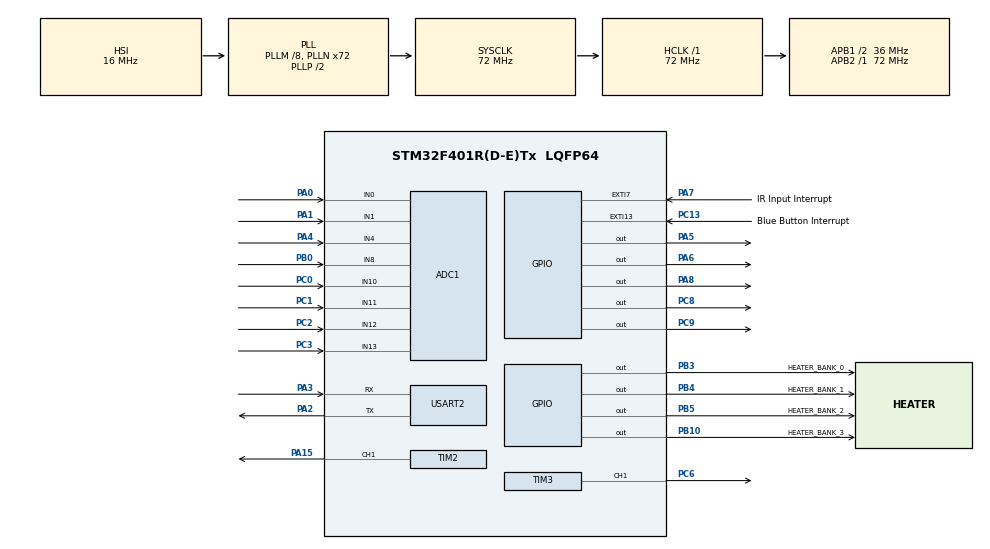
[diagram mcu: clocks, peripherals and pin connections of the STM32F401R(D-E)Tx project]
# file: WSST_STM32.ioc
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ADC1.Channel-0\#ChannelRegularConversion=ADC_CHANNEL_0
ADC1.Channel-1\#ChannelRegularConversion=ADC_CHANNEL_1
ADC1.Channel-2\#ChannelRegularConversion=ADC_CHANNEL_4
ADC1.Channel-3\#ChannelRegularConversion=ADC_CHANNEL_8
ADC1.Channel-4\#ChannelRegularConversion=ADC_CHANNEL_10
ADC1.Channel-5\#ChannelRegularConversion=ADC_CHANNEL_11
ADC1.Channel-6\#ChannelRegularConversion=ADC_CHANNEL_12
ADC1.Channel-7\#ChannelRegularConversion=ADC_CHANNEL_13
ADC1.DiscontinuousConvMode=ENABLE
ADC1.InjNumberOfConversion=0
ADC1.NbrOfConversion=8
ADC1.NbrOfConversionFlag=1
ADC1.Rank-0\#ChannelRegularConversion=1
ADC1.Rank-1\#ChannelRegularConversion=2
ADC1.Rank-2\#ChannelRegularConversion=3
ADC1.Rank-3\#ChannelRegularConversion=4
ADC1.Rank-4\#ChannelRegularConversion=5
ADC1.Rank-5\#ChannelRegularConversion=6
ADC1.Rank-6\#ChannelRegularConversion=7
ADC1.Rank-7\#ChannelRegularConversion=8
ADC1.SamplingTime-0\#ChannelRegularConversion=ADC_SAMPLETIME_3CYCLES
ADC1.SamplingTime-1\#ChannelRegularConversion=ADC_SAMPLETIME_3CYCLES
ADC1.SamplingTime-2\#ChannelRegularConversion=ADC_SAMPLETIME_3CYCLES
ADC1.SamplingTime-3\#ChannelRegularConversion=ADC_SAMPLETIME_3CYCLES
ADC1.SamplingTime-4\#ChannelRegularConversion=ADC_SAMPLETIME_3CYCLES
ADC1.SamplingTime-5\#ChannelRegularConversion=ADC_SAMPLETIME_3CYCLES
ADC1.SamplingTime-6\#ChannelRegularConversion=ADC_SAMPLETIME_3CYCLES
ADC1.SamplingTime-7\#ChannelRegularConversion=ADC_SAMPLETIME_3CYCLES
ADC1.ScanConvMode=ENABLE
ADC1.master=1
FREERTOS.Tasks01=defaultTask,0,128,StartDefaultTask,Default,NULL,Dynamic,NULL,NULL;readSensors,0,128,startReadSensors,Default,NULL,Dynamic,NULL,NULL;bangBangControl,3,128,StartBangBangControl,Default,NULL,Dynamic,NULL,NULL;communicationTa,0,1024,StartComTask,Default,NULL,Dynamic,NULL,NULL;motorTask,0,128,startMotorTask,Default,NULL,Dynamic,NULL,NULL;messageHanldlerTask,0,256,StartMessageHandlerTask,Default,NULL,Dynamic,NULL,NULL
FREERTOS.configENABLE_FPU=1
FREERTOS.configMAX_TASK_NAME_LEN=32
FREERTOS.configUSE_NEWLIB_REENTRANT=1
Mcu.Family=STM32F4
Mcu.Name=STM32F401R(D-E)Tx
Mcu.Package=LQFP64
NVIC.EXTI15_10_IRQn=true\:5\:0\:false\:false\:true\:true\:true\:true\:true
NVIC.EXTI9_5_IRQn=true\:5\:0\:false\:false\:true\:true\:true\:true\:true
NVIC.PriorityGroup=NVIC_PRIORITYGROUP_4
NVIC.TIM1_UP_TIM10_IRQn=true\:15\:0\:false\:false\:true\:false\:false\:true\:true
NVIC.TimeBase=TIM1_UP_TIM10_IRQn
NVIC.TimeBaseIP=TIM1
NVIC.USART2_IRQn=true\:5\:0\:false\:false\:true\:true\:true\:true\:true
PA0-WKUP.Signal=ADCx_IN0
PA1.Signal=ADCx_IN1
PA15.Signal=S_TIM2_CH1_ETR
PA2.Mode=Asynchronous
PA2.Signal=USART2_TX
PA3.Mode=Asynchronous
PA3.Signal=USART2_RX
PA4.Signal=ADCx_IN4
PA5.Signal=GPIO_Output
PA6.Signal=GPIO_Output
PA7.GPIO_Label=IR Input Interrupt
PA7.GPIO_ModeDefaultEXTI=GPIO_MODE_IT_FALLING
PA7.GPIO_PuPd=GPIO_PULLUP
PA7.Signal=GPXTI7
PA8.Signal=GPIO_Output
PB0.Signal=ADCx_IN8
PB10.GPIO_Label=HEATER_BANK_3
PB10.Signal=GPIO_Output
PB3.GPIO_Label=HEATER_BANK_0
PB3.Signal=GPIO_Output
PB4.GPIO_Label=HEATER_BANK_1
PB4.Signal=GPIO_Output
PB5.GPIO_Label=HEATER_BANK_2
PB5.Signal=GPIO_Output
PC0.Signal=ADCx_IN10
PC1.Signal=ADCx_IN11
PC13-ANTI_TAMP.GPIO_Label=Blue Button Interrupt
PC13-ANTI_TAMP.GPIO_ModeDefaultEXTI=GPIO_MODE_IT_FALLING
PC13-ANTI_TAMP.GPIO_PuPd=GPIO_PULLUP
PC13-ANTI_TAMP.Signal=GPXTI13
PC2.Signal=ADCx_IN12
PC3.Signal=ADCx_IN13
PC6.Signal=S_TIM3_CH1
PC8.Signal=GPIO_Output
PC9.Signal=GPIO_Output
ProjectManager.HeapSize=0x200
ProjectManager.StackSize=0x400
ProjectManager.TargetToolchain=STM32CubeIDE
RCC.48MHZClocksFreq_Value=36000000
RCC.AHBFreq_Value=72000000
RCC.APB1CLKDivider=RCC_HCLK_DIV2
RCC.APB1Freq_Value=36000000
RCC.APB1TimFreq_Value=72000000
RCC.APB2Freq_Value=72000000
RCC.APB2TimFreq_Value=72000000
RCC.CortexFreq_Value=72000000
RCC.HCLKFreq_Value=72000000
RCC.HSE_VALUE=25000000
RCC.HSI_VALUE=16000000
RCC.LSE_VALUE=32768
RCC.PLLM=8
RCC.PLLN=72
RCC.SYSCLKFreq_VALUE=72000000
RCC.SYSCLKSource=RCC_SYSCLKSOURCE_PLLCLK
RCC.VCOOutputFreq_Value=144000000
SH.ADCx_IN0.0=ADC1_IN0,IN0
SH.ADCx_IN1.0=ADC1_IN1,IN1
SH.ADCx_IN10.0=ADC1_IN10,IN10
SH.ADCx_IN11.0=ADC1_IN11,IN11
SH.ADCx_IN12.0=ADC1_IN12,IN12
SH.ADCx_IN13.0=ADC1_IN13,IN13
SH.ADCx_IN4.0=ADC1_IN4,IN4
SH.ADCx_IN8.0=ADC1_IN8,IN8
SH.S_TIM2_CH1_ETR.0=TIM2_CH1,PWM Generation1 CH1
SH.S_TIM3_CH1.0=TIM3_CH1,PWM Generation1 CH1
TIM2.Channel-PWM\ Generation1\ CH1=TIM_CHANNEL_1
TIM2.Period=999
TIM2.Prescaler=71
TIM3.Channel-PWM\ Generation1\ CH1=TIM_CHANNEL_1
TIM3.Period=255
USART2.VirtualMode=VM_ASYNC
VP_FREERTOS_VS_CMSIS_V1.Mode=CMSIS_V1
VP_SYS_VS_tim1.Mode=TIM1
board=custom

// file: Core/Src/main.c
/* USER CODE BEGIN Header */
/**
  ******************************************************************************
  * @file           : main.c
  * @brief          : Main program body
  ******************************************************************************
  * @attention
  *
  * Copyright (c) 2024 STMicroelectronics.
  * All rights reserved.
  *
  * This software is licensed under terms that can be found in the LICENSE file
  * in the root directory of this software component.
  * If no LICENSE file comes with this software, it is provided AS-IS.
  *
  ******************************************************************************
  */
/* USER CODE END Header */
#include "main.h"
#include "cmsis_os.h"

ADC_HandleTypeDef hadc1;

TIM_HandleTypeDef htim2;
TIM_HandleTypeDef htim3;

UART_HandleTypeDef huart2;

osThreadId defaultTaskHandle;
osThreadId readSensorsHandle;
osThreadId bangBangControlHandle;
osThreadId communicationTaHandle;
osThreadId motorTaskHandle;
osThreadId messageHanldlerTaskHandle;
/* USER CODE BEGIN PV */
uint32_t temp_setpoint;
enum HeaterState heater_state[HEATER_BANK_COUNT];
int active_heater_bank = HEATER_BANK_0;
uint16_t active_heater_bank_pin;

uint32_t IR_RPM_interrupt_count = 0;
float centrifuge_RPM[10];
uint32_t rpm_time = 0;
uint32_t prev_rpm_time = 0;
float global_rpm_avg;

float MS_TO_S = 1000;

uint16_t adc_values[HEATER_COUNT];
float temp_values[HEATER_COUNT];
int heater_bank_thermistor_0 = 0;
int heater_bank_thermistor_1 = 1;

static uint8_t rx_data;
static char command_queue[COMMAND_QUEUE_SIZE][COMMAND_BUFFER_SIZE];
static uint8_t command_head = 0;
static uint8_t command_tail = 0;
static uint8_t rx_buffer[COMMAND_BUFFER_SIZE];
static uint8_t rx_index = 0;

int bruh = 0;
int other_bruh = 0;
/* USER CODE END PV */

void SystemClock_Config(void);
static void MX_GPIO_Init(void);
static void MX_ADC1_Init(void);
static void MX_USART2_UART_Init(void);
static void MX_TIM2_Init(void);
static void MX_TIM3_Init(void);
void StartDefaultTask(void const * argument);
void startReadSensors(void const * argument);
void StartBangBangControl(void const * argument);
void StartComTask(void const * argument);
void startMotorTask(void const * argument);
void StartMessageHandlerTask(void const * argument);

/* USER CODE BEGIN 0 */
uint8_t is_command_queue_full()
{
    return ((command_head + 1) % COMMAND_QUEUE_SIZE) == command_tail;
}

void enqueue_command(const char *command)
{
    strncpy(command_queue[command_head], command, COMMAND_BUFFER_SIZE - 1);
    command_queue[command_head][COMMAND_BUFFER_SIZE - 1] = '\0';
    command_head = (command_head + 1) % COMMAND_QUEUE_SIZE;
}

char *dequeue_command(void)
{
    char *command = command_queue[command_tail];
    command_tail = (command_tail + 1) % COMMAND_QUEUE_SIZE;
    return command;
}

void set_setpoint(uint32_t new_setpoint)
{
	temp_setpoint = new_setpoint;
}

void reset_setpoint(void)
{
	temp_setpoint = 0;
}

float thermistor_adc_to_temp_c(uint16_t thermistor_adc_value)
{
	float thermistor_resistance_ohm = (float) THERMISTOR_RESISTOR * ((float) thermistor_adc_value / ((float) 4096 - (float) thermistor_adc_value));

	float thermistor_temp = -(30.21*logf(thermistor_resistance_ohm)) + 137.57;
	return thermistor_temp;
}

void cycle_heater_state(int active_heater)
{
  switch(heater_state[active_heater])
  {
	case OFF:
		heater_state[active_heater] = PRE_HEAT;
		set_setpoint(PRE_HEAT_SETPOINT);
		break;
	case PRE_HEAT:
		heater_state[active_heater] = FULL_HEAT;
		set_setpoint(FULL_HEAT_STOPPOINT);
		break;
	case FULL_HEAT:
		heater_state[active_heater] = OFF;
		reset_setpoint();
		break;
  }
}

void select_active_heater_bank(int active_heater_bank_in)
{
	active_heater_bank = active_heater_bank_in;
	switch(active_heater_bank_in)
	{
		case HEATER_BANK_0:
			active_heater_bank_pin = HEATER_BANK_0_Pin;
			break;
		case HEATER_BANK_1:
			active_heater_bank_pin = HEATER_BANK_1_Pin;
			break;
		case HEATER_BANK_2:
			active_heater_bank_pin = HEATER_BANK_2_Pin;
			break;
		case HEATER_BANK_3:
			active_heater_bank_pin = HEATER_BANK_3_Pin;
			break;
	}
}

void update_heater_state(int heater_bank_number, int heater_state_in)
{
	heater_state[heater_bank_number] = heater_state_in;
}

void HAL_GPIO_EXTI_Callback(uint16_t GPIO_Pin)
{
  if(GPIO_Pin == GPIO_PIN_13)
  {
	  cycle_heater_state(active_heater_bank);
  }
  else if(GPIO_Pin == GPIO_PIN_7)
  {
//	  rpm_time = HAL_GetTick();
	  IR_RPM_interrupt_count++;
  }
}

void HAL_UART_RxCpltCallback(UART_HandleTypeDef *huart)
{
    if (huart->Instance == USART2)
    {
        if (rx_data == '\n')
        {
            rx_buffer[rx_index] = '\0';
            if (!is_command_queue_full())
            {
                enqueue_command((char *)rx_buffer);
            }
            rx_index = 0;
        }
        else
        {
            if (rx_index < COMMAND_BUFFER_SIZE - 1)
            {
                rx_buffer[rx_index++] = rx_data;
            }
        }

        HAL_UART_Receive_IT(&huart2, &rx_data, 1);
    }
}

void read_and_accumulate_adc_channels()
{
	for(int i = 0; i < HEATER_COUNT; i++)
	{
		HAL_ADC_Start(&hadc1);
		HAL_ADC_PollForConversion(&hadc1, HAL_MAX_DELAY);
		adc_values[i] += HAL_ADC_GetValue(&hadc1);
	}

	HAL_ADC_Stop(&hadc1);
}

void handle_uart_messages(char *command)
{
	  if (strcmp(command, "CMD1") == 0)
	  {
//		select_active_heater_bank(HEATER_BANK_0);
//		for(int i = 0; i != active_heater_bank && i < HEATER_BANK_COUNT; i++)
//		{
//			update_heater_state(i, OFF);
//		}
		update_heater_state(HEATER_BANK_0, PRE_HEAT);
	  }
	  else if (strcmp(command, "CMD2") == 0)
	  {
//			select_active_heater_bank(HEATER_BANK_1);
//			for(int i = 0; i != active_heater_bank && i < HEATER_BANK_COUNT; i++)
//			{
//				update_heater_state(i, OFF);
//			}
			update_heater_state(HEATER_BANK_1, PRE_HEAT);
	  }
	  else if (strcmp(command, "CMD3") == 0)
	  {
//			select_active_heater_bank(HEATER_BANK_2);
//			for(int i = 0; i != active_heater_bank && i < HEATER_BANK_COUNT; i++)
//			{
//				update_heater_state(i, OFF);
//			}
			update_heater_state(HEATER_BANK_2, PRE_HEAT);
	  }
	  else if (strcmp(command, "CMD4") == 0)
	  {
//			select_active_heater_bank(HEATER_BANK_3);
//			for(int i = 0; i != active_heater_bank && i < HEATER_BANK_COUNT; i++)
//			{
//				update_heater_state(i, OFF);
//			}
			update_heater_state(HEATER_BANK_3, PRE_HEAT);
	  }
	  else if (strcmp(command, "CMD5") == 0)
	  {
//			select_active_heater_bank(HEATER_BANK_0);
//			for(int i = 0; i != active_heater_bank && i < HEATER_BANK_COUNT; i++)
//			{
//				update_heater_state(i, OFF);
//			}
			if (heater_state[HEATER_BANK_0] == FULL_HEAT)
				update_heater_state(HEATER_BANK_0, OFF);
			else
				update_heater_state(HEATER_BANK_0, FULL_HEAT);
	  }
	  else if (strcmp(command, "CMD6") == 0)
	  {
//			select_active_heater_bank(HEATER_BANK_1);
//			for(int i = 0; i != active_heater_bank && i < HEATER_BANK_COUNT; i++)
//			{
//				update_heater_state(i, OFF);
//			}
			if (heater_state[HEATER_BANK_1] == FULL_HEAT)
				update_heater_state(HEATER_BANK_1, OFF);
			else
				update_heater_state(HEATER_BANK_1, FULL_HEAT);
	  }
	  else if (strcmp(command, "CMD7") == 0)
	  {
//			select_active_heater_bank(HEATER_BANK_2);
//			for(int i = 0; i != active_heater_bank && i < HEATER_BANK_COUNT; i++)
//			{
//				update_heater_state(i, OFF);
//			}
			if (heater_state[HEATER_BANK_2] == FULL_HEAT)
				update_heater_state(HEATER_BANK_2, OFF);
			else
				update_heater_state(HEATER_BANK_2, FULL_HEAT);
	  }
	  else if (strcmp(command, "CMD8") == 0)
	  {
//			select_active_heater_bank(HEATER_BANK_3);
//			for(int i = 0; i != active_heater_bank && i < HEATER_BANK_COUNT; i++)
//			{
//				update_heater_state(i, OFF);
//			}
			if (heater_state[HEATER_BANK_3] == FULL_HEAT)
				update_heater_state(HEATER_BANK_3, OFF);
			else
				update_heater_state(HEATER_BANK_3, FULL_HEAT);
	  }
	  else if (strcmp(command, "CMD9") == 0){
	 	  	TIM3->CCR1 = 500; // Divide by 1000 to get PWM Duty Cycle
	 	  	HAL_TIM_PWM_Start(&htim3, TIM_CHANNEL_1);
	 	  	__HAL_TIM_SET_COMPARE(&htim3, TIM_CHANNEL_1, 255);

	  }
	  else if (strcmp(command, "CMD10") == 0){
	 	  	TIM3->CCR1 = 500; // Divide by 1000 to get PWM Duty Cycle
	 	  	HAL_TIM_PWM_Start(&htim3, TIM_CHANNEL_1);
	 	  	__HAL_TIM_SET_COMPARE(&htim3, TIM_CHANNEL_1, 0);

	  }
	  else if (strlen(command)<=3){
	 	  	TIM3->CCR1 = 500; // Divide by 1000 to get PWM Duty Cycle
	 	  	HAL_TIM_PWM_Start(&htim3, TIM_CHANNEL_1);
	 	  	int rx_pwmval = atoi(command);
	 	  	__HAL_TIM_SET_COMPARE(&htim3, TIM_CHANNEL_1, rx_pwmval);

	  }
	  // Add more command handlers as needed
}

uint8_t is_command_queue_empty()
{
    return command_head == command_tail;
}
/* USER CODE END 0 */

int main(void)
{

  /* MCU Configuration--------------------------------------------------------*/

  /* Reset of all peripherals, Initializes the Flash interface and the Systick. */
  HAL_Init();

  /* Configure the system clock */
  SystemClock_Config();

  /* Initialize all configured peripherals */
  MX_GPIO_Init();
  MX_ADC1_Init();
  MX_USART2_UART_Init();
  MX_TIM2_Init();
  MX_TIM3_Init();
  /* USER CODE BEGIN 2 */
  HAL_ADC_Start(&hadc1);
  HAL_UART_Receive_IT(&huart2, &rx_data, 1);
  /* USER CODE END 2 */

  /* Create the thread(s) */
  /* definition and creation of defaultTask */
  osThreadDef(defaultTask, StartDefaultTask, osPriorityNormal, 0, 128);
  defaultTaskHandle = osThreadCreate(osThread(defaultTask), NULL);

  /* definition and creation of readSensors */
  osThreadDef(readSensors, startReadSensors, osPriorityNormal, 0, 128);
  readSensorsHandle = osThreadCreate(osThread(readSensors), NULL);

  /* definition and creation of bangBangControl */
  osThreadDef(bangBangControl, StartBangBangControl, osPriorityRealtime, 0, 128);
  bangBangControlHandle = osThreadCreate(osThread(bangBangControl), NULL);

  /* definition and creation of communicationTa */
  osThreadDef(communicationTa, StartComTask, osPriorityNormal, 0, 1024);
  communicationTaHandle = osThreadCreate(osThread(communicationTa), NULL);

  /* definition and creation of motorTask */
  osThreadDef(motorTask, startMotorTask, osPriorityNormal, 0, 128);
  motorTaskHandle = osThreadCreate(osThread(motorTask), NULL);

  /* definition and creation of messageHanldlerTask */
  osThreadDef(messageHanldlerTask, StartMessageHandlerTask, osPriorityNormal, 0, 256);
  messageHanldlerTaskHandle = osThreadCreate(osThread(messageHanldlerTask), NULL);

  /* Start scheduler */
  osKernelStart();

  /* We should never get here as control is now taken by the scheduler */

  /* Infinite loop */
  while (1)
  {

  }
}

void SystemClock_Config(void)
{
  RCC_OscInitTypeDef RCC_OscInitStruct = {0};
  RCC_ClkInitTypeDef RCC_ClkInitStruct = {0};

  /** Configure the main internal regulator output voltage
  */
  __HAL_RCC_PWR_CLK_ENABLE();
  __HAL_PWR_VOLTAGESCALING_CONFIG(PWR_REGULATOR_VOLTAGE_SCALE2);

  /** Initializes the RCC Oscillators according to the specified parameters
  * in the RCC_OscInitTypeDef structure.
  */
  RCC_OscInitStruct.OscillatorType = RCC_OSCILLATORTYPE_HSI;
  RCC_OscInitStruct.HSIState = RCC_HSI_ON;
  RCC_OscInitStruct.HSICalibrationValue = RCC_HSICALIBRATION_DEFAULT;
  RCC_OscInitStruct.PLL.PLLState = RCC_PLL_ON;
  RCC_OscInitStruct.PLL.PLLSource = RCC_PLLSOURCE_HSI;
  RCC_OscInitStruct.PLL.PLLM = 8;
  RCC_OscInitStruct.PLL.PLLN = 72;
  RCC_OscInitStruct.PLL.PLLP = RCC_PLLP_DIV2;
  RCC_OscInitStruct.PLL.PLLQ = 4;
  if (HAL_RCC_OscConfig(&RCC_OscInitStruct) != HAL_OK)
  {
    Error_Handler();
  }

  /** Initializes the CPU, AHB and APB buses clocks
  */
  RCC_ClkInitStruct.ClockType = RCC_CLOCKTYPE_HCLK|RCC_CLOCKTYPE_SYSCLK
                              |RCC_CLOCKTYPE_PCLK1|RCC_CLOCKTYPE_PCLK2;
  RCC_ClkInitStruct.SYSCLKSource = RCC_SYSCLKSOURCE_PLLCLK;
  RCC_ClkInitStruct.AHBCLKDivider = RCC_SYSCLK_DIV1;
  RCC_ClkInitStruct.APB1CLKDivider = RCC_HCLK_DIV2;
  RCC_ClkInitStruct.APB2CLKDivider = RCC_HCLK_DIV1;

  if (HAL_RCC_ClockConfig(&RCC_ClkInitStruct, FLASH_LATENCY_2) != HAL_OK)
  {
    Error_Handler();
  }
}

static void MX_ADC1_Init(void)
{

  ADC_ChannelConfTypeDef sConfig = {0};

  /** Configure the global features of the ADC (Clock, Resolution, Data Alignment and number of conversion)
  */
  hadc1.Instance = ADC1;
  hadc1.Init.ClockPrescaler = ADC_CLOCK_SYNC_PCLK_DIV2;
  hadc1.Init.Resolution = ADC_RESOLUTION_12B;
  hadc1.Init.ScanConvMode = ENABLE;
  hadc1.Init.ContinuousConvMode = DISABLE;
  hadc1.Init.DiscontinuousConvMode = ENABLE;
  hadc1.Init.NbrOfDiscConversion = 1;
  hadc1.Init.ExternalTrigConvEdge = ADC_EXTERNALTRIGCONVEDGE_NONE;
  hadc1.Init.ExternalTrigConv = ADC_SOFTWARE_START;
  hadc1.Init.DataAlign = ADC_DATAALIGN_RIGHT;
  hadc1.Init.NbrOfConversion = 8;
  hadc1.Init.DMAContinuousRequests = DISABLE;
  hadc1.Init.EOCSelection = ADC_EOC_SINGLE_CONV;
  if (HAL_ADC_Init(&hadc1) != HAL_OK)
  {
    Error_Handler();
  }

  /** Configure for the selected ADC regular channel its corresponding rank in the sequencer and its sample time.
  */
  sConfig.Channel = ADC_CHANNEL_0;
  sConfig.Rank = 1;
  sConfig.SamplingTime = ADC_SAMPLETIME_3CYCLES;
  if (HAL_ADC_ConfigChannel(&hadc1, &sConfig) != HAL_OK)
  {
    Error_Handler();
  }

  /** Configure for the selected ADC regular channel its corresponding rank in the sequencer and its sample time.
  */
  sConfig.Channel = ADC_CHANNEL_1;
  sConfig.Rank = 2;
  if (HAL_ADC_ConfigChannel(&hadc1, &sConfig) != HAL_OK)
  {
    Error_Handler();
  }

  /** Configure for the selected ADC regular channel its corresponding rank in the sequencer and its sample time.
  */
  sConfig.Channel = ADC_CHANNEL_4;
  sConfig.Rank = 3;
  if (HAL_ADC_ConfigChannel(&hadc1, &sConfig) != HAL_OK)
  {
    Error_Handler();
  }

  /** Configure for the selected ADC regular channel its corresponding rank in the sequencer and its sample time.
  */
  sConfig.Channel = ADC_CHANNEL_8;
  sConfig.Rank = 4;
  if (HAL_ADC_ConfigChannel(&hadc1, &sConfig) != HAL_OK)
  {
    Error_Handler();
  }

  /** Configure for the selected ADC regular channel its corresponding rank in the sequencer and its sample time.
  */
  sConfig.Channel = ADC_CHANNEL_10;
  sConfig.Rank = 5;
  if (HAL_ADC_ConfigChannel(&hadc1, &sConfig) != HAL_OK)
  {
    Error_Handler();
  }

  /** Configure for the selected ADC regular channel its corresponding rank in the sequencer and its sample time.
  */
  sConfig.Channel = ADC_CHANNEL_11;
  sConfig.Rank = 6;
  if (HAL_ADC_ConfigChannel(&hadc1, &sConfig) != HAL_OK)
  {
    Error_Handler();
  }

  /** Configure for the selected ADC regular channel its corresponding rank in the sequencer and its sample time.
  */
  sConfig.Channel = ADC_CHANNEL_12;
  sConfig.Rank = 7;
  if (HAL_ADC_ConfigChannel(&hadc1, &sConfig) != HAL_OK)
  {
    Error_Handler();
  }

  /** Configure for the selected ADC regular channel its corresponding rank in the sequencer and its sample time.
  */
  sConfig.Channel = ADC_CHANNEL_13;
  sConfig.Rank = 8;
  if (HAL_ADC_ConfigChannel(&hadc1, &sConfig) != HAL_OK)
  {
    Error_Handler();
  }

}

static void MX_TIM2_Init(void)
{

  TIM_MasterConfigTypeDef sMasterConfig = {0};
  TIM_OC_InitTypeDef sConfigOC = {0};

  htim2.Instance = TIM2;
  htim2.Init.Prescaler = 71;
  htim2.Init.CounterMode = TIM_COUNTERMODE_UP;
  htim2.Init.Period = 999;
  htim2.Init.ClockDivision = TIM_CLOCKDIVISION_DIV1;
  htim2.Init.AutoReloadPreload = TIM_AUTORELOAD_PRELOAD_DISABLE;
  if (HAL_TIM_PWM_Init(&htim2) != HAL_OK)
  {
    Error_Handler();
  }
  sMasterConfig.MasterOutputTrigger = TIM_TRGO_RESET;
  sMasterConfig.MasterSlaveMode = TIM_MASTERSLAVEMODE_DISABLE;
  if (HAL_TIMEx_MasterConfigSynchronization(&htim2, &sMasterConfig) != HAL_OK)
  {
    Error_Handler();
  }
  sConfigOC.OCMode = TIM_OCMODE_PWM1;
  sConfigOC.Pulse = 0;
  sConfigOC.OCPolarity = TIM_OCPOLARITY_HIGH;
  sConfigOC.OCFastMode = TIM_OCFAST_DISABLE;
  if (HAL_TIM_PWM_ConfigChannel(&htim2, &sConfigOC, TIM_CHANNEL_1) != HAL_OK)
  {
    Error_Handler();
  }
  HAL_TIM_MspPostInit(&htim2);

}

static void MX_TIM3_Init(void)
{

  TIM_MasterConfigTypeDef sMasterConfig = {0};
  TIM_OC_InitTypeDef sConfigOC = {0};

  htim3.Instance = TIM3;
  htim3.Init.Prescaler = 0;
  htim3.Init.CounterMode = TIM_COUNTERMODE_UP;
  htim3.Init.Period = 255;
  htim3.Init.ClockDivision = TIM_CLOCKDIVISION_DIV1;
  htim3.Init.AutoReloadPreload = TIM_AUTORELOAD_PRELOAD_DISABLE;
  if (HAL_TIM_PWM_Init(&htim3) != HAL_OK)
  {
    Error_Handler();
  }
  sMasterConfig.MasterOutputTrigger = TIM_TRGO_RESET;
  sMasterConfig.MasterSlaveMode = TIM_MASTERSLAVEMODE_DISABLE;
  if (HAL_TIMEx_MasterConfigSynchronization(&htim3, &sMasterConfig) != HAL_OK)
  {
    Error_Handler();
  }
  sConfigOC.OCMode = TIM_OCMODE_PWM1;
  sConfigOC.Pulse = 0;
  sConfigOC.OCPolarity = TIM_OCPOLARITY_HIGH;
  sConfigOC.OCFastMode = TIM_OCFAST_DISABLE;
  if (HAL_TIM_PWM_ConfigChannel(&htim3, &sConfigOC, TIM_CHANNEL_1) != HAL_OK)
  {
    Error_Handler();
  }
  HAL_TIM_MspPostInit(&htim3);

}

static void MX_USART2_UART_Init(void)
{

  huart2.Instance = USART2;
  huart2.Init.BaudRate = 115200;
  huart2.Init.WordLength = UART_WORDLENGTH_8B;
  huart2.Init.StopBits = UART_STOPBITS_1;
  huart2.Init.Parity = UART_PARITY_NONE;
  huart2.Init.Mode = UART_MODE_TX_RX;
  huart2.Init.HwFlowCtl = UART_HWCONTROL_NONE;
  huart2.Init.OverSampling = UART_OVERSAMPLING_16;
  if (HAL_UART_Init(&huart2) != HAL_OK)
  {
    Error_Handler();
  }

}

static void MX_GPIO_Init(void)
{
  GPIO_InitTypeDef GPIO_InitStruct = {0};

  /* GPIO Ports Clock Enable */
  __HAL_RCC_GPIOC_CLK_ENABLE();
  __HAL_RCC_GPIOA_CLK_ENABLE();
  __HAL_RCC_GPIOB_CLK_ENABLE();

  /*Configure GPIO pin Output Level */
  HAL_GPIO_WritePin(GPIOA, GPIO_PIN_5|GPIO_PIN_6|GPIO_PIN_8, GPIO_PIN_RESET);

  /*Configure GPIO pin Output Level */
  HAL_GPIO_WritePin(GPIOB, HEATER_BANK_3_Pin|HEATER_BANK_0_Pin|HEATER_BANK_1_Pin|HEATER_BANK_2_Pin, GPIO_PIN_RESET);

  /*Configure GPIO pin Output Level */
  HAL_GPIO_WritePin(GPIOC, GPIO_PIN_8|GPIO_PIN_9, GPIO_PIN_RESET);

  /*Configure GPIO pin : Blue_Button_Interrupt_Pin */
  GPIO_InitStruct.Pin = Blue_Button_Interrupt_Pin;
  GPIO_InitStruct.Mode = GPIO_MODE_IT_FALLING;
  GPIO_InitStruct.Pull = GPIO_PULLUP;
  HAL_GPIO_Init(Blue_Button_Interrupt_GPIO_Port, &GPIO_InitStruct);

  /*Configure GPIO pins : PA5 PA6 PA8 */
  GPIO_InitStruct.Pin = GPIO_PIN_5|GPIO_PIN_6|GPIO_PIN_8;
  GPIO_InitStruct.Mode = GPIO_MODE_OUTPUT_PP;
  GPIO_InitStruct.Pull = GPIO_NOPULL;
  GPIO_InitStruct.Speed = GPIO_SPEED_FREQ_LOW;
  HAL_GPIO_Init(GPIOA, &GPIO_InitStruct);

  /*Configure GPIO pin : IR_Input_Interrupt_Pin */
  GPIO_InitStruct.Pin = IR_Input_Interrupt_Pin;
  GPIO_InitStruct.Mode = GPIO_MODE_IT_FALLING;
  GPIO_InitStruct.Pull = GPIO_PULLUP;
  HAL_GPIO_Init(IR_Input_Interrupt_GPIO_Port, &GPIO_InitStruct);

  /*Configure GPIO pins : HEATER_BANK_3_Pin HEATER_BANK_0_Pin HEATER_BANK_1_Pin HEATER_BANK_2_Pin */
  GPIO_InitStruct.Pin = HEATER_BANK_3_Pin|HEATER_BANK_0_Pin|HEATER_BANK_1_Pin|HEATER_BANK_2_Pin;
  GPIO_InitStruct.Mode = GPIO_MODE_OUTPUT_PP;
  GPIO_InitStruct.Pull = GPIO_NOPULL;
  GPIO_InitStruct.Speed = GPIO_SPEED_FREQ_LOW;
  HAL_GPIO_Init(GPIOB, &GPIO_InitStruct);

  /*Configure GPIO pins : PC8 PC9 */
  GPIO_InitStruct.Pin = GPIO_PIN_8|GPIO_PIN_9;
  GPIO_InitStruct.Mode = GPIO_MODE_OUTPUT_PP;
  GPIO_InitStruct.Pull = GPIO_NOPULL;
  GPIO_InitStruct.Speed = GPIO_SPEED_FREQ_LOW;
  HAL_GPIO_Init(GPIOC, &GPIO_InitStruct);

  /* EXTI interrupt init*/
  HAL_NVIC_SetPriority(EXTI9_5_IRQn, 5, 0);
  HAL_NVIC_EnableIRQ(EXTI9_5_IRQn);

  HAL_NVIC_SetPriority(EXTI15_10_IRQn, 5, 0);
  HAL_NVIC_EnableIRQ(EXTI15_10_IRQn);

}

void StartDefaultTask(void const * argument)
{
  /* USER CODE BEGIN 5 */
  reset_setpoint();
  select_active_heater_bank(active_heater_bank);
  /* Infinite loop */
  for(;;)
  {
    osDelay(10000);
  }
  /* USER CODE END 5 */
}

void startReadSensors(void const * argument)
{
  /* USER CODE BEGIN startReadSensors */
  int oversample_count_max = 10;
  int oversample_count = 0;

  /* Infinite loop */
  // add switch case here for reading ADC channels
  for(;;)
  {
	read_and_accumulate_adc_channels();
	oversample_count++;

	if(oversample_count == oversample_count_max)
	{
		oversample_count = 0;
		for(int i = 0; i < HEATER_COUNT; i++)
		{
			adc_values[i] = adc_values[i]/oversample_count_max;
			temp_values[i] = thermistor_adc_to_temp_c(adc_values[i]);
			adc_values[i] = 0;
		}
	}
    osDelay(1);
  }
  /* USER CODE END startReadSensors */
}

void StartBangBangControl(void const * argument)
{
  /* USER CODE BEGIN StartBangBangControl */
  TIM2->CCR1 = 500; // Divide by 1000 to get PWM Duty Cycle
  HAL_TIM_PWM_Start(&htim2, TIM_CHANNEL_1);
//  HAL_GPIO_WritePin(GPIOA, GPIO_PIN_8, GPIO_PIN_SET); // D7 on board

  /* Infinite loop */
  for(;;)
  {
	for(int i = 0; i < HEATER_BANK_COUNT; i++)
	{
		switch(i)
		{
		case 0:
			active_heater_bank_pin = HEATER_BANK_0_Pin;
			heater_bank_thermistor_0 = 0;
			heater_bank_thermistor_1 = 1;
			break;
		case 1:
			active_heater_bank_pin = HEATER_BANK_1_Pin;
			heater_bank_thermistor_0 = 2;
			heater_bank_thermistor_1 = 3;
			break;
		case 2:
			active_heater_bank_pin = HEATER_BANK_2_Pin;
			heater_bank_thermistor_0 = 4;
			heater_bank_thermistor_1 = 5;
			break;
		case 3:
			active_heater_bank_pin = HEATER_BANK_3_Pin;
			heater_bank_thermistor_0 = 6;
			heater_bank_thermistor_1 = 7;
			break;

		}
		if(heater_state[i] == PRE_HEAT)
		{
			if(temp_values[heater_bank_thermistor_0] < PRE_HEAT_SETPOINT
				&& temp_values[heater_bank_thermistor_1] < PRE_HEAT_SETPOINT)
			{
				bruh++;
				HAL_GPIO_WritePin(GPIOA, GPIO_PIN_5, GPIO_PIN_SET);
				HAL_GPIO_WritePin(GPIOB, active_heater_bank_pin, GPIO_PIN_SET);
			}
			else
			{
				other_bruh++;
				HAL_GPIO_WritePin(GPIOA, GPIO_PIN_5, GPIO_PIN_RESET);
				HAL_GPIO_WritePin(GPIOB, active_heater_bank_pin, GPIO_PIN_RESET);
			}
		}
		else if(heater_state[i] == FULL_HEAT)
		{
			if(temp_values[heater_bank_thermistor_0] < FULL_HEAT_STOPPOINT
				|| temp_values[heater_bank_thermistor_1] < FULL_HEAT_STOPPOINT)
			{
				HAL_GPIO_WritePin(GPIOA, GPIO_PIN_5, GPIO_PIN_SET);
				HAL_GPIO_WritePin(GPIOB, active_heater_bank_pin, GPIO_PIN_SET); // D12 on board
			}
			else
			{
				HAL_GPIO_WritePin(GPIOA, GPIO_PIN_5, GPIO_PIN_RESET);
				HAL_GPIO_WritePin(GPIOB, active_heater_bank_pin, GPIO_PIN_RESET);
				heater_state[i] = OFF;
			}
		}
		else
		{
			HAL_GPIO_WritePin(GPIOA, GPIO_PIN_5, GPIO_PIN_RESET);
			HAL_GPIO_WritePin(GPIOB, active_heater_bank_pin, GPIO_PIN_RESET);
		}
	}
	osDelay(100);
  }
  /* USER CODE END StartBangBangControl */
}

void StartComTask(void const * argument)
{
  /* USER CODE BEGIN StartComTask */

  /* Infinite loop */
  for(;;)
  {
	if (!is_command_queue_empty())
	{
		char *command = dequeue_command();
		handle_uart_messages(command);
	}
	char buf[512];
	sprintf(buf, "%f, %f, %f, %f, %f, %f, %f, %f, %i, %i, %i, %i, %i, %i\n", temp_values[0], temp_values[1],
			temp_values[2], temp_values[3], temp_values[4], temp_values[5], temp_values[6],
			temp_values[7], heater_state[active_heater_bank], bruh, heater_state[0],
			heater_state[1], heater_state[2], heater_state[3]);
	HAL_UART_Transmit(&huart2, buf, strlen(buf), HAL_MAX_DELAY);

    osDelay(200);
  }
  /* USER CODE END StartComTask */
}

void startMotorTask(void const * argument)
{
  /* USER CODE BEGIN startMotorTask */
  HAL_GPIO_WritePin(GPIOC, GPIO_PIN_8, GPIO_PIN_SET);
  HAL_GPIO_WritePin(GPIOC, GPIO_PIN_9, GPIO_PIN_RESET);

  int i = 0;
  float rpm_avg = 0;
  /* Infinite loop */
  for(;;)
  {
	rpm_time = HAL_GetTick();
	float time_delta = ((float) rpm_time - (float) prev_rpm_time)/MS_TO_S;
	centrifuge_RPM[i] = ((IR_RPM_interrupt_count/time_delta)*60)/8;
	IR_RPM_interrupt_count = 0;
	prev_rpm_time = rpm_time;

	rpm_avg = 0;

	for(int index = 0; index < 10; index++)
	{
		rpm_avg += centrifuge_RPM[index];
	}

	global_rpm_avg = (rpm_avg/10);

	i = (i+1) % 10;

    osDelay(100);
  }
  /* USER CODE END startMotorTask */
}

void StartMessageHandlerTask(void const * argument)
{
  /* USER CODE BEGIN StartMessageHandlerTask */
  /* Infinite loop */
  for(;;)
  {
	osDelay(10000);
  }
  /* USER CODE END StartMessageHandlerTask */
}

void HAL_TIM_PeriodElapsedCallback(TIM_HandleTypeDef *htim)
{
  if (htim->Instance == TIM1) {
    HAL_IncTick();
  }
}

void Error_Handler(void)
{
  /* USER CODE BEGIN Error_Handler_Debug */
  /* User can add his own implementation to report the HAL error return state */
  __disable_irq();
  char buf[64];
  sprintf(buf, "BRUH MOMENT");

  HAL_UART_Transmit(&huart2, buf, strlen(buf), HAL_MAX_DELAY);
  while (1)
  {
  }
  /* USER CODE END Error_Handler_Debug */
}
